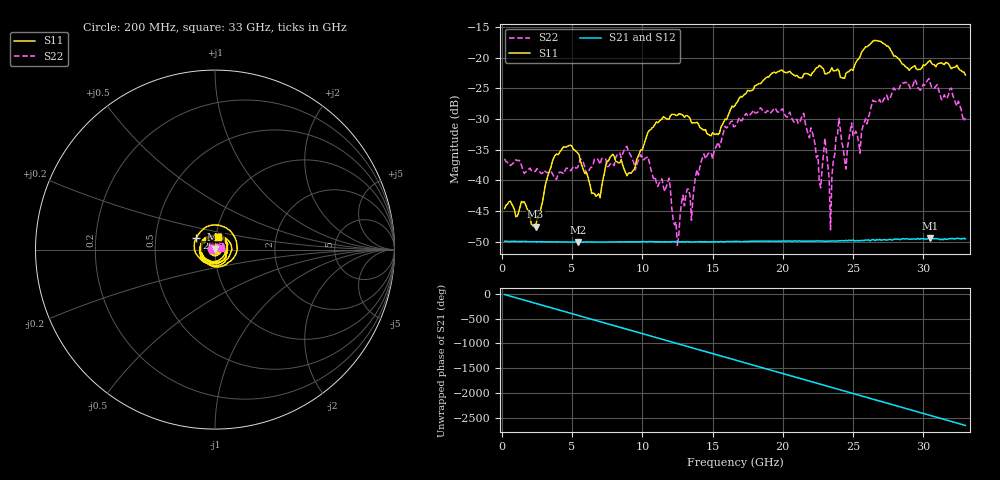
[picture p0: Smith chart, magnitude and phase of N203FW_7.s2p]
# GHZ S RI R 50
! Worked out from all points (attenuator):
!   329 points, 200 MHz to 33 GHz, reference 50 ohm
!   highest |S21| = -49.45 dB at 30.5 GHz (marker M1); lowest = -50.1 dB at 5.4 GHz (marker M2)
!   lowest |S11| = -47.6 dB at 2.4 GHz (marker M3), VSWR 1.01, Z = 50.2 + j0.356 ohm
!   |S11| at or under -10 dB: start of sweep to end of sweep
!   |S22| runs from -50.8 to -23.4 dB; largest |S21 - S12| = 8.8e-05
!   S11 on the Smith chart (normalised r, x): 200 MHz: 1.01, +0.00; 26 GHz: 0.81, +0.11; 33 GHz: 1.03, +0.14
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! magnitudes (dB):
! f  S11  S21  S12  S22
! 200 MHz  -44.6  -50.0  -49.9  -36.5
! 2.4 GHz  -47.6  -50.0  -50.0  -38.5
! 3.8 GHz  -35.9  -50.1  -50.0  -39.7
! 5.4 GHz  -35.5  -50.1  -50.1  -37.9
! 5.7 GHz  -37.6  -50.1  -50.1  -36.8
! 7 GHz  -42.9  -50.1  -50.1  -37.4
! 11.2 GHz  -30.4  -50.0  -50.0  -40.5
! 11.9 GHz  -30.1  -50.0  -50.0  -39.7
! 12.5 GHz  -29.4  -50.0  -50.0  -50.8
! 12.9 GHz  -29.4  -50.0  -50.0  -42.5
! 13.5 GHz  -30.6  -50.1  -50.1  -46.5
! 16.6 GHz  -27.8  -50.0  -50.0  -31.2
! 22.1 GHz  -22.5  -49.9  -49.9  -32.2
! 22.7 GHz  -21.4  -49.9  -49.9  -41.2
! 23 GHz  -22.7  -50.0  -49.9  -33.1
! 23.4 GHz  -22.1  -49.9  -49.9  -48.1
! 24 GHz  -22.2  -49.9  -49.9  -29.9
! 24.5 GHz  -22.5  -49.8  -49.8  -38.2
! 26 GHz  -18.3  -49.8  -49.7  -30.8
! 27.6 GHz  -18.5  -49.6  -49.7  -26.9
! 30.5 GHz  -20.5  -49.5  -49.5  -24.2
! 33 GHz  -22.8  -49.6  -49.6  -29.8
